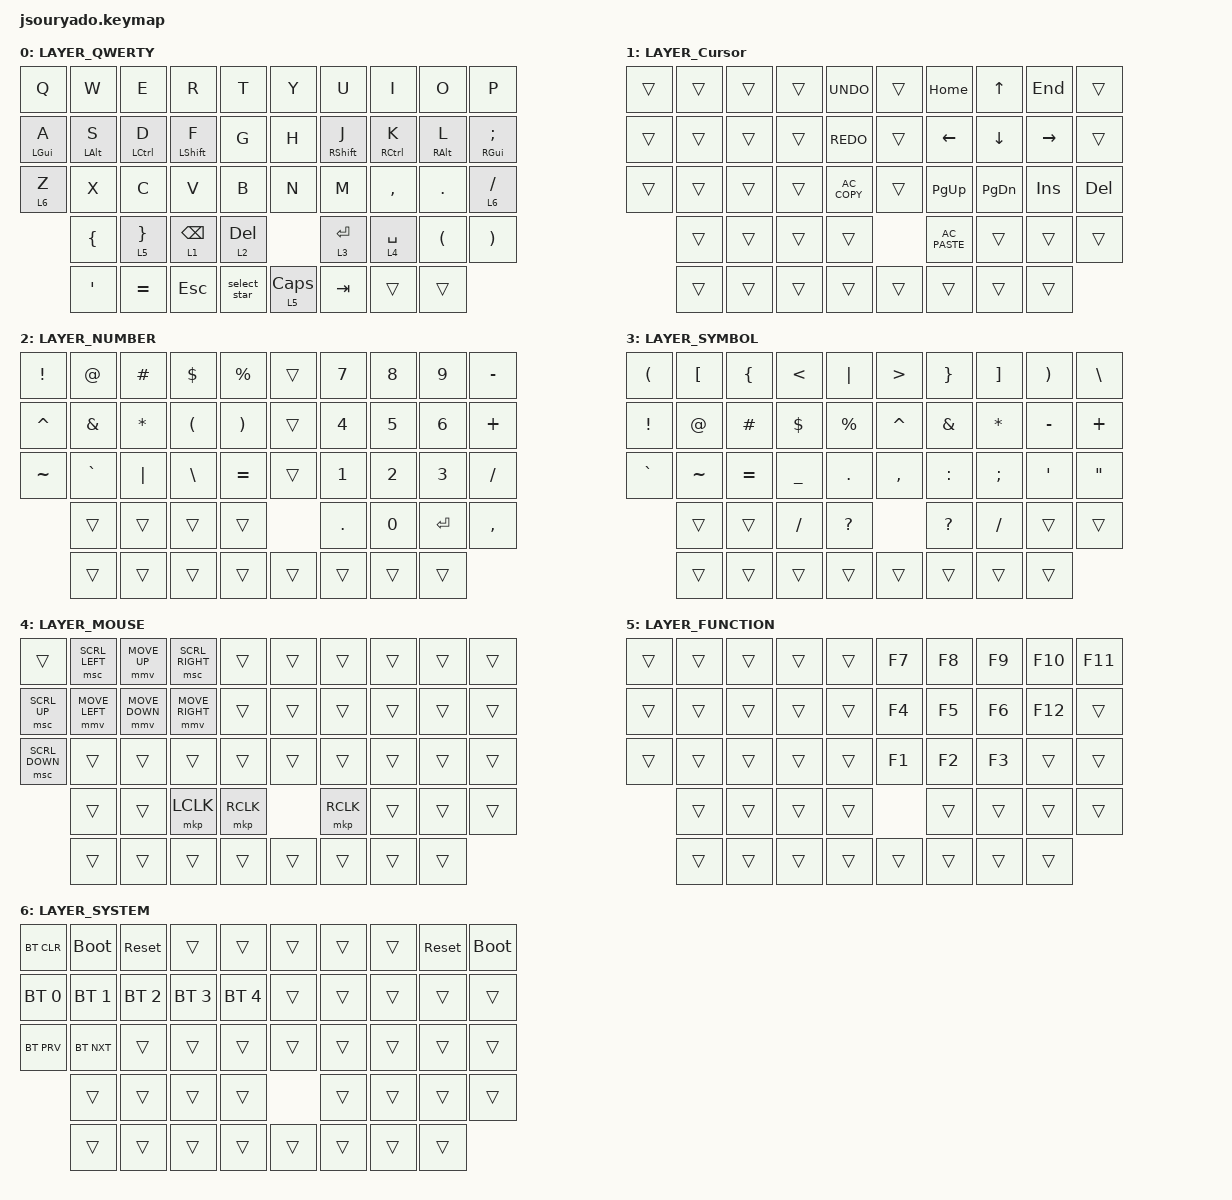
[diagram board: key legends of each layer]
/*
 * Optimized ZMK Keymap
 */

#include <behaviors.dtsi>
#include <dt-bindings/zmk/bt.h>
#include <dt-bindings/zmk/keys.h>
#include <dt-bindings/zmk/pointing.h>

/ {
    behaviors {
        hm: hm {
            compatible = "zmk,behavior-hold-tap";
            bindings = <&kp>, <&kp>;
            #binding-cells = <2>;

            tapping-term-ms = <180>;
            quick-tap-ms = <150>;
            flavor = "balanced";
        };
    };

    macros {
        select_star: select_star {
            compatible = "zmk,behavior-macro";
            #binding-cells = <0>;
            bindings = <
                &kp LS(S) &kp LS(E) &kp LS(L) &kp LS(E) &kp LS(C) &kp LS(T)
                &kp SPACE
                &kp STAR
                &kp RET
                &kp LS(F) &kp LS(R) &kp LS(O) &kp LS(M)
                &kp SPACE
            >;
        };
    };

    keymap {
        compatible = "zmk,keymap";

        /* ================= DEFAULT ================= */
        LAYER_QWERTY {
            bindings = <
&kp Q           &kp W             &kp E              &kp R             &kp T           &kp Y           &kp U              &kp I        &kp O            &kp P
&hm LGUI A      &hm LALT S        &hm LCTRL D        &hm LSHFT F       &kp G           &kp H           &hm RSHFT J        &hm RCTRL K  &hm RALT L       &hm RGUI SEMICOLON
&lt 6 Z          &kp X             &kp C              &kp V             &kp B           &kp N           &kp M              &kp COMMA    &kp DOT          &lt 6 FSLH

                &kp LEFT_BRACE    &lt 5 RIGHT_BRACE    &lt 1 BACKSPACE     &lt 2 DEL         &lt 3 RET       &lt 4 SPACE          &kp LPAR     &kp RPAR
                &kp SINGLE_QUOTE  &kp EQUAL          &kp ESCAPE        &select_star    &lt 5 CAPSLOCK    &kp TAB            &trans       &trans
            >;
        };

        /* ================= NAV / CURSOR ================= */
        LAYER_Cursor {
            bindings = <
&trans  &trans  &trans  &trans  &kp K_UNDO     &trans     &kp HOME      &kp UP        &kp END       &trans
&trans  &trans  &trans  &trans  &kp K_REDO     &trans     &kp LEFT      &kp DOWN      &kp RIGHT     &trans
&trans  &trans  &trans  &trans  &kp C_AC_COPY  &trans     &kp PG_UP     &kp PG_DN     &kp INSERT    &kp DEL

        &trans  &trans  &trans  &trans          &kp C_AC_PASTE  &trans     &trans       &trans
        &trans  &trans  &trans  &trans          &trans          &trans     &trans       &trans
            >;
        };

        /* ================= NUMBER ================= */
        LAYER_NUMBER {
            bindings = <
&kp EXCL        &kp AT          &kp HASH        &kp DLLR        &kp PERCENT     &trans     &kp N7        &kp N8     &kp N9        &kp MINUS
&kp CARET       &kp AMPS        &kp ASTRK       &kp LPAR        &kp RPAR        &trans     &kp N4        &kp N5     &kp N6        &kp PLUS
&kp TILDE       &kp GRAVE       &kp PIPE        &kp BACKSLASH   &kp EQUAL       &trans     &kp N1        &kp N2     &kp N3        &kp FSLH

                &trans          &trans          &trans          &trans          &kp DOT    &kp N0        &kp ENTER   &kp COMMA
                &trans          &trans          &trans          &trans          &trans     &trans        &trans      &trans
            >;
        };

        /* ================= SYMBOL ================= */
        LAYER_SYMBOL {
            bindings = <
&kp LPAR        &kp LBKT        &kp LBRC        &kp LT          &kp PIPE        &kp GT          &kp RBRC        &kp RBKT        &kp RPAR        &kp BSLH
&kp EXCL        &kp AT          &kp HASH        &kp DLLR        &kp PERCENT     &kp CARET       &kp AMPS        &kp ASTRK       &kp MINUS       &kp PLUS
&kp GRAVE       &kp TILDE       &kp EQUAL       &kp UNDER       &kp DOT         &kp COMMA       &kp COLON       &kp SEMICOLON   &kp SQT         &kp DQT

                &trans          &trans          &kp SLASH       &kp QUESTION    &kp QUESTION    &kp SLASH       &trans          &trans
                &trans          &trans          &trans          &trans          &trans          &trans          &trans          &trans
            >;
        };

        /* ================= MOUSE ================= */
        LAYER_MOUSE {
            bindings = <
&trans          &msc SCRL_LEFT  &mmv MOVE_UP    &msc SCRL_RIGHT  &trans      &trans  &trans  &trans  &trans  &trans
&msc SCRL_UP    &mmv MOVE_LEFT  &mmv MOVE_DOWN  &mmv MOVE_RIGHT  &trans      &trans  &trans  &trans  &trans  &trans
&msc SCRL_DOWN  &trans          &trans          &trans           &trans      &trans  &trans  &trans  &trans  &trans

                &trans          &trans          &mkp LCLK        &mkp RCLK    &mkp RCLK  &trans  &trans  &trans
                &trans          &trans          &trans           &trans       &trans     &trans  &trans  &trans
            >;
        };

        /* ================= FUNCTION ================= */
        LAYER_FUNCTION {
            bindings = <
&trans  &trans  &trans  &trans  &trans    &kp F7   &kp F8  &kp F9  &kp F10  &kp F11
&trans  &trans  &trans  &trans  &trans    &kp F4   &kp F5  &kp F6  &kp F12  &trans
&trans  &trans  &trans  &trans  &trans    &kp F1   &kp F2  &kp F3  &trans   &trans

        &trans  &trans  &trans  &trans    &trans   &trans  &trans  &trans
        &trans  &trans  &trans  &trans    &trans   &trans  &trans  &trans
            >;
        };

        /* ================= SYSTEM ================= */
        LAYER_SYSTEM {
            bindings = <
&bt BT_CLR    &bootloader   &sys_reset    &trans        &trans        &trans  &trans  &trans  &sys_reset  &bootloader
&bt BT_SEL 0  &bt BT_SEL 1  &bt BT_SEL 2  &bt BT_SEL 3  &bt BT_SEL 4  &trans  &trans  &trans  &trans      &trans
&bt BT_PRV    &bt BT_NXT    &trans        &trans        &trans        &trans  &trans  &trans  &trans      &trans

              &trans        &trans        &trans        &trans        &trans  &trans  &trans  &trans
              &trans        &trans        &trans        &trans        &trans  &trans  &trans  &trans
            >;
        };
    };
};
